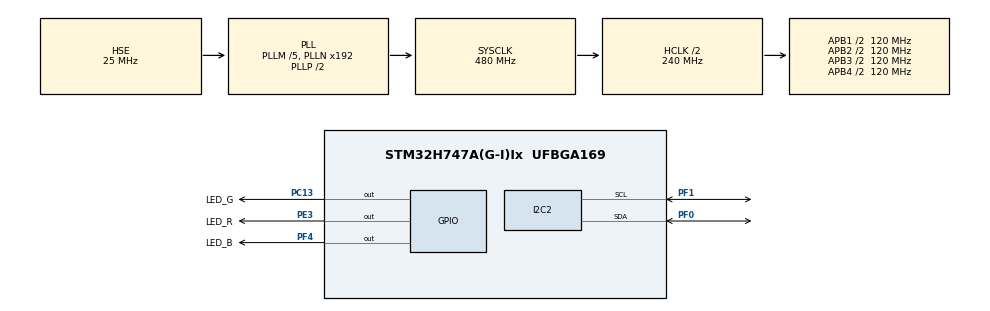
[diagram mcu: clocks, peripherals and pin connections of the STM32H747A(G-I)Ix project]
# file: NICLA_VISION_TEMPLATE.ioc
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CORTEX_M7.CPU_DCache=Enabled
CORTEX_M7.CPU_ICache=Enabled
CORTEX_M7.default_mode_Activation=1
CortexM4.IPs=BDMA,CORTEX_M4\:I,DEBUG,DMA,FATFS_M4\:I,FREERTOS_M4\:I,GPIO,IWDG2\:I,MDMA,NVIC2\:I,OPENAMP_M4\:I,PDM2PCM_M4\:I,PWR,RCC,RESMGR_UTILITY,SYS_M4\:I,USB_DEVICE_M4\:I,USB_HOST_M4\:I,VREFBUF,WWDG2\:I
CortexM7.IPs=BDMA\:I,CORTEX_M7\:I,DEBUG\:I,DMA\:I,FATFS_M7\:I,FREERTOS_M7\:I,GPIO\:I,IWDG1\:I,MDMA\:I,NVIC1\:I,OPENAMP_M7\:I,PDM2PCM_M7\:I,PWR\:I,RCC\:I,RESMGR_UTILITY\:I,SYS\:I,USB_DEVICE_M7\:I,USB_HOST_M7\:I,VREFBUF\:I,WWDG1\:I,I2C2\:I
CortexM7.Pins=PE3,PC13,PF4
I2C2.Timing=0x307075B1
Mcu.Family=STM32H7
Mcu.Name=STM32H747A(G-I)Ix
Mcu.Package=UFBGA169
NVIC1.PriorityGroup=NVIC_PRIORITYGROUP_4
NVIC2.PriorityGroup=NVIC_PRIORITYGROUP_4
PA13\ (JTMS/SWDIO).Mode=Serial_Wire
PA13\ (JTMS/SWDIO).PinAttribute=CortexM7
PA13\ (JTMS/SWDIO).Signal=DEBUG_JTMS-SWDIO
PA14\ (JTCK/SWCLK).Mode=Serial_Wire
PA14\ (JTCK/SWCLK).PinAttribute=CortexM7
PA14\ (JTCK/SWCLK).Signal=DEBUG_JTCK-SWCLK
PC13.GPIO_Label=LED_G
PC13.PinAttribute=CortexM7
PC13.PinState=GPIO_PIN_SET
PC13.Signal=GPIO_Output
PE3.GPIO_Label=LED_R
PE3.PinAttribute=CortexM7
PE3.PinState=GPIO_PIN_SET
PE3.Signal=GPIO_Output
PF0.Mode=I2C
PF0.PinAttribute=CortexM7
PF0.Signal=I2C2_SDA
PF1.Mode=I2C
PF1.PinAttribute=CortexM7
PF1.Signal=I2C2_SCL
PF4.GPIO_Label=LED_B
PF4.PinAttribute=CortexM7
PF4.PinState=GPIO_PIN_SET
PF4.Signal=GPIO_Output
PH0-OSC_IN\ (PH0).Mode=HSE-External-Clock-Source
PH0-OSC_IN\ (PH0).PinAttribute=Free
PH0-OSC_IN\ (PH0).Signal=RCC_OSC_IN
ProjectManager.HeapSize=M4-0x200,M7-0x200
ProjectManager.StackSize=M4-0x400,M7-0x400
ProjectManager.TargetToolchain=STM32CubeIDE
RCC.ADCFreq_Value=50390625
RCC.APB1Freq_Value=120000000
RCC.APB2Freq_Value=120000000
RCC.APB3Freq_Value=120000000
RCC.APB4Freq_Value=120000000
RCC.CortexFreq_Value=480000000
RCC.D1PPRE=RCC_APB3_DIV2
RCC.D2PPRE1=RCC_APB1_DIV2
RCC.D2PPRE2=RCC_APB2_DIV2
RCC.D3PPRE=RCC_APB4_DIV2
RCC.DIVM1=5
RCC.DIVN1=192
RCC.HCLKFreq_Value=240000000
RCC.HPRE=RCC_HCLK_DIV2
RCC.PLLFRACN=0
RCC.PLLSourceVirtual=RCC_PLLSOURCE_HSE
RCC.SYSCLKFreq_VALUE=480000000
RCC.SYSCLKSource=RCC_SYSCLKSOURCE_PLLCLK
RCC.SupplySource=PWR_LDO_SUPPLY
RCC.USBFreq_Value=480000000
RCC.VDD_VALUE=1.8
SYS.userName=SYS_M7
VP_SYS_M4_VS_Systick.Mode=SysTick
board=custom

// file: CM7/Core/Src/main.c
/* USER CODE BEGIN Header */
/**
  ******************************************************************************
  * @file           : main.c
  * @brief          : Main program body
  ******************************************************************************
  * @attention
  *
  * Copyright (c) 2024 STMicroelectronics.
  * All rights reserved.
  *
  * This software is licensed under terms that can be found in the LICENSE file
  * in the root directory of this software component.
  * If no LICENSE file comes with this software, it is provided AS-IS.
  *
  ******************************************************************************
  */
/* USER CODE END Header */
#include "main.h"

/* USER CODE BEGIN PD */

/* Start of the CM4 image in flash (must match CM4/STM32H747AIIX_FLASH.ld) */
#define CM4_IMAGE_ADDRESS    0x08100000U

#ifndef HSEM_ID_0
#define HSEM_ID_0 (0U) /* HW semaphore 0*/
#endif

/* USER CODE END PD */

I2C_HandleTypeDef hi2c2;

void SystemClock_Config(void);
static void MPU_Config(void);
static void MX_GPIO_Init(void);
static void MX_I2C2_Init(void);
/* USER CODE BEGIN PFP */
static void Bootloader_Handoff(void);
static void Disable_Caches(void);
/* USER CODE END PFP */

int main(void)
{

  /* USER CODE BEGIN 1 */

  Bootloader_Handoff();

  // Release the M4 (it is held off by the option bytes), pointing it at its image
  __HAL_RCC_SYSCFG_CLK_ENABLE();
  HAL_SYSCFG_CM4BootAddConfig(SYSCFG_BOOT_ADDR0, CM4_IMAGE_ADDRESS);

  // Boot up the M4 core as portenta is set to have it off by default using fuses
  HAL_RCCEx_EnableBootCore(RCC_BOOT_C2);

  /* USER CODE END 1 */
/* USER CODE BEGIN Boot_Mode_Sequence_0 */
  int32_t timeout;
/* USER CODE END Boot_Mode_Sequence_0 */

  /* MPU Configuration--------------------------------------------------------*/
  MPU_Config();

  /* Enable the CPU Cache */

  /* Enable I-Cache---------------------------------------------------------*/
  SCB_EnableICache();

  /* Enable D-Cache---------------------------------------------------------*/
  SCB_EnableDCache();

/* USER CODE BEGIN Boot_Mode_Sequence_1 */
  /* Wait until CPU2 boots and enters in stop mode or timeout*/
  timeout = 0xFFFF;
  while((__HAL_RCC_GET_FLAG(RCC_FLAG_D2CKRDY) != RESET) && (timeout-- > 0));
  if ( timeout < 0 )
  {
  Error_Handler();
  }
/* USER CODE END Boot_Mode_Sequence_1 */
  /* MCU Configuration--------------------------------------------------------*/

  /* Reset of all peripherals, Initializes the Flash interface and the Systick. */
  HAL_Init();

  /* USER CODE BEGIN Init */

  /* Enable the portenta oscillator pin */
  __HAL_RCC_GPIOH_CLK_ENABLE();
  GPIO_InitTypeDef  gpio_osc_init_structure;
  gpio_osc_init_structure.Pin = GPIO_PIN_1;
  gpio_osc_init_structure.Mode = GPIO_MODE_OUTPUT_PP;
  gpio_osc_init_structure.Pull = GPIO_PULLUP;
  gpio_osc_init_structure.Speed = GPIO_SPEED_FREQ_LOW;
  HAL_GPIO_Init(GPIOH, &gpio_osc_init_structure);
  HAL_Delay(10);
  HAL_GPIO_WritePin(GPIOH, GPIO_PIN_1, 1);

  /* USER CODE END Init */

  /* Configure the system clock */
  SystemClock_Config();
/* USER CODE BEGIN Boot_Mode_Sequence_2 */
/* When system initialization is finished, Cortex-M7 will release Cortex-M4 by means of
HSEM notification */
/*HW semaphore Clock enable*/
__HAL_RCC_HSEM_CLK_ENABLE();
/*Take HSEM */
HAL_HSEM_FastTake(HSEM_ID_0);
/*Release HSEM in order to notify the CPU2(CM4)*/
HAL_HSEM_Release(HSEM_ID_0,0);
/* wait until CPU2 wakes up from stop mode */
timeout = 0xFFFF;
while((__HAL_RCC_GET_FLAG(RCC_FLAG_D2CKRDY) == RESET) && (timeout-- > 0));
if ( timeout < 0 )
{
Error_Handler();
}
/* USER CODE END Boot_Mode_Sequence_2 */

  /* Initialize all configured peripherals */
  MX_GPIO_Init();
  MX_I2C2_Init();
  /* USER CODE BEGIN 2 */

  /* Setup power supply rails
   * This part enables all required rails on the power management module via I2C*/
  uint8_t data[2];

  // Charger LED Driver Enable controlled via software
  data[0]=0x9c;
  data[1]=0x80;
  HAL_I2C_Master_Transmit(&hi2c2, 0x08 << 1, data, sizeof(data), 100);

  // Charger LED Driver Enable controlled via software
  data[0]=0x9e;
  data[1]=0x20;
  HAL_I2C_Master_Transmit(&hi2c2, 0x08 << 1, data, sizeof(data), 100);

  // SW3 current limit at 1.5A
  data[0]=0x42;
  data[1]=0x02;
  HAL_I2C_Master_Transmit(&hi2c2, 0x08 << 1, data, sizeof(data), 100);

  // VBUS current limit at 1.5A
  data[0]=0x94;
  data[1]=0xa0;
  HAL_I2C_Master_Transmit(&hi2c2, 0x08 << 1, data, sizeof(data), 100);

  // LDO1
  data[0] = 0x4d;
  data[1] = 0x01;
  HAL_I2C_Master_Transmit(&hi2c2, 0x08 << 1, data, sizeof(data), 100);

  // LDO2
  data[0] = 0x50;
  data[1] = 0x01;
  HAL_I2C_Master_Transmit(&hi2c2, 0x08 << 1, data, sizeof(data), 100);

  // LDO3 to 1.2V
  data[0] = 0x53;
  data[1] = 0x01;
  HAL_I2C_Master_Transmit(&hi2c2, 0x08 << 1, data, sizeof(data), 100);

  // SW2
  data[0] = 0x3b;
  data[1] = 0x81;
  HAL_I2C_Master_Transmit(&hi2c2, 0x08 << 1, data, sizeof(data),100);

  // wait for the power lines to settle
  HAL_Delay(250);

  /* USER CODE END 2 */

  /* Infinite loop */
  while (1)
  {

    /* USER CODE BEGIN 3 */
	HAL_GPIO_TogglePin(LED_G_GPIO_Port, LED_G_Pin);
	HAL_Delay(3000);
  }
  /* USER CODE END 3 */
}

void SystemClock_Config(void)
{
  RCC_OscInitTypeDef RCC_OscInitStruct = {0};
  RCC_ClkInitTypeDef RCC_ClkInitStruct = {0};

  /** Supply configuration update enable
  */
  HAL_PWREx_ConfigSupply(PWR_LDO_SUPPLY);

  /** Configure the main internal regulator output voltage
  */
  __HAL_PWR_VOLTAGESCALING_CONFIG(PWR_REGULATOR_VOLTAGE_SCALE1);

  while(!__HAL_PWR_GET_FLAG(PWR_FLAG_VOSRDY)) {}

  __HAL_RCC_SYSCFG_CLK_ENABLE();
  __HAL_PWR_VOLTAGESCALING_CONFIG(PWR_REGULATOR_VOLTAGE_SCALE0);

  while(!__HAL_PWR_GET_FLAG(PWR_FLAG_VOSRDY)) {}

  /** Initializes the RCC Oscillators according to the specified parameters
  * in the RCC_OscInitTypeDef structure.
  */
  RCC_OscInitStruct.OscillatorType = RCC_OSCILLATORTYPE_HSE;
  RCC_OscInitStruct.HSEState = RCC_HSE_BYPASS;
  RCC_OscInitStruct.PLL.PLLState = RCC_PLL_ON;
  RCC_OscInitStruct.PLL.PLLSource = RCC_PLLSOURCE_HSE;
  RCC_OscInitStruct.PLL.PLLM = 5;
  RCC_OscInitStruct.PLL.PLLN = 192;
  RCC_OscInitStruct.PLL.PLLP = 2;
  RCC_OscInitStruct.PLL.PLLQ = 2;
  RCC_OscInitStruct.PLL.PLLR = 2;
  RCC_OscInitStruct.PLL.PLLRGE = RCC_PLL1VCIRANGE_2;
  RCC_OscInitStruct.PLL.PLLVCOSEL = RCC_PLL1VCOWIDE;
  RCC_OscInitStruct.PLL.PLLFRACN = 0;
  if (HAL_RCC_OscConfig(&RCC_OscInitStruct) != HAL_OK)
  {
    Error_Handler();
  }

  /** Initializes the CPU, AHB and APB buses clocks
  */
  RCC_ClkInitStruct.ClockType = RCC_CLOCKTYPE_HCLK|RCC_CLOCKTYPE_SYSCLK
                              |RCC_CLOCKTYPE_PCLK1|RCC_CLOCKTYPE_PCLK2
                              |RCC_CLOCKTYPE_D3PCLK1|RCC_CLOCKTYPE_D1PCLK1;
  RCC_ClkInitStruct.SYSCLKSource = RCC_SYSCLKSOURCE_PLLCLK;
  RCC_ClkInitStruct.SYSCLKDivider = RCC_SYSCLK_DIV1;
  RCC_ClkInitStruct.AHBCLKDivider = RCC_HCLK_DIV2;
  RCC_ClkInitStruct.APB3CLKDivider = RCC_APB3_DIV2;
  RCC_ClkInitStruct.APB1CLKDivider = RCC_APB1_DIV2;
  RCC_ClkInitStruct.APB2CLKDivider = RCC_APB2_DIV2;
  RCC_ClkInitStruct.APB4CLKDivider = RCC_APB4_DIV2;

  if (HAL_RCC_ClockConfig(&RCC_ClkInitStruct, FLASH_LATENCY_4) != HAL_OK)
  {
    Error_Handler();
  }
}

static void MX_I2C2_Init(void)
{

  hi2c2.Instance = I2C2;
  hi2c2.Init.Timing = 0x307075B1;
  hi2c2.Init.OwnAddress1 = 0;
  hi2c2.Init.AddressingMode = I2C_ADDRESSINGMODE_7BIT;
  hi2c2.Init.DualAddressMode = I2C_DUALADDRESS_DISABLE;
  hi2c2.Init.OwnAddress2 = 0;
  hi2c2.Init.OwnAddress2Masks = I2C_OA2_NOMASK;
  hi2c2.Init.GeneralCallMode = I2C_GENERALCALL_DISABLE;
  hi2c2.Init.NoStretchMode = I2C_NOSTRETCH_DISABLE;
  if (HAL_I2C_Init(&hi2c2) != HAL_OK)
  {
    Error_Handler();
  }

  /** Configure Analogue filter
  */
  if (HAL_I2CEx_ConfigAnalogFilter(&hi2c2, I2C_ANALOGFILTER_ENABLE) != HAL_OK)
  {
    Error_Handler();
  }

  /** Configure Digital filter
  */
  if (HAL_I2CEx_ConfigDigitalFilter(&hi2c2, 0) != HAL_OK)
  {
    Error_Handler();
  }

}

static void MX_GPIO_Init(void)
{
  GPIO_InitTypeDef GPIO_InitStruct = {0};

  /* GPIO Ports Clock Enable */
  __HAL_RCC_GPIOA_CLK_ENABLE();
  __HAL_RCC_GPIOE_CLK_ENABLE();
  __HAL_RCC_GPIOC_CLK_ENABLE();
  __HAL_RCC_GPIOF_CLK_ENABLE();

  /*Configure GPIO pin Output Level */
  HAL_GPIO_WritePin(LED_R_GPIO_Port, LED_R_Pin, GPIO_PIN_SET);

  /*Configure GPIO pin Output Level */
  HAL_GPIO_WritePin(LED_G_GPIO_Port, LED_G_Pin, GPIO_PIN_SET);

  /*Configure GPIO pin Output Level */
  HAL_GPIO_WritePin(LED_B_GPIO_Port, LED_B_Pin, GPIO_PIN_SET);

  /*Configure GPIO pin : LED_R_Pin */
  GPIO_InitStruct.Pin = LED_R_Pin;
  GPIO_InitStruct.Mode = GPIO_MODE_OUTPUT_PP;
  GPIO_InitStruct.Pull = GPIO_NOPULL;
  GPIO_InitStruct.Speed = GPIO_SPEED_FREQ_LOW;
  HAL_GPIO_Init(LED_R_GPIO_Port, &GPIO_InitStruct);

  /*Configure GPIO pin : LED_G_Pin */
  GPIO_InitStruct.Pin = LED_G_Pin;
  GPIO_InitStruct.Mode = GPIO_MODE_OUTPUT_PP;
  GPIO_InitStruct.Pull = GPIO_NOPULL;
  GPIO_InitStruct.Speed = GPIO_SPEED_FREQ_LOW;
  HAL_GPIO_Init(LED_G_GPIO_Port, &GPIO_InitStruct);

  /*Configure GPIO pin : LED_B_Pin */
  GPIO_InitStruct.Pin = LED_B_Pin;
  GPIO_InitStruct.Mode = GPIO_MODE_OUTPUT_PP;
  GPIO_InitStruct.Pull = GPIO_NOPULL;
  GPIO_InitStruct.Speed = GPIO_SPEED_FREQ_LOW;
  HAL_GPIO_Init(LED_B_GPIO_Port, &GPIO_InitStruct);

}

/* USER CODE BEGIN 4 */
/*
 * Built with -O2 on purpose: CMSIS 5.1.1 SCB_DisableDCache() disables the
 * cache before cleaning it, so at -O0 its loop counters live on the (cached)
 * stack, get read back stale from RAM and the loop never ends.
 */
__attribute__((optimize("O2"))) static void Disable_Caches(void)
{
  SCB_DisableICache();
  SCB_DisableDCache();
}

/*
 * The bootloader jumps here without a reset. Put VTOR, NVIC, caches, MPU and
 * the RCC peripheral resets / clock enables back to their power-on state.
 */
static void Bootloader_Handoff(void)
{
  extern uint32_t g_pfnVectors[];

  __disable_irq();

  /* Our own vector table, wherever we were linked */
  SCB->VTOR = (uint32_t)g_pfnVectors;
  __DSB();
  __ISB();

  /* No interrupts left over from the bootloader */
  SysTick->CTRL = 0;
  for (uint32_t i = 0; i < 8; i++)
  {
    NVIC->ICER[i] = 0xFFFFFFFFU;
    NVIC->ICPR[i] = 0xFFFFFFFFU;
  }

  /* Caches off and MPU off, as after reset */
  Disable_Caches();
  HAL_MPU_Disable();

  /* Reset every peripheral the bootloader may have used */
  __HAL_RCC_AHB1_FORCE_RESET();
  __HAL_RCC_AHB2_FORCE_RESET();
  __HAL_RCC_AHB3_FORCE_RESET();
  __HAL_RCC_AHB4_FORCE_RESET();
  __HAL_RCC_APB1L_FORCE_RESET();
  __HAL_RCC_APB1H_FORCE_RESET();
  __HAL_RCC_APB2_FORCE_RESET();
  __HAL_RCC_APB3_FORCE_RESET();
  __HAL_RCC_APB4_FORCE_RESET();
  __HAL_RCC_AHB1_RELEASE_RESET();
  __HAL_RCC_AHB2_RELEASE_RESET();
  __HAL_RCC_AHB3_RELEASE_RESET();
  __HAL_RCC_AHB4_RELEASE_RESET();
  __HAL_RCC_APB1L_RELEASE_RESET();
  __HAL_RCC_APB1H_RELEASE_RESET();
  __HAL_RCC_APB2_RELEASE_RESET();
  __HAL_RCC_APB3_RELEASE_RESET();
  __HAL_RCC_APB4_RELEASE_RESET();

  /* Give up CM7's clock enables so D2 can go to STOP.
   * AHB3ENR also holds the FLASH/TCM/AXI SRAM bits: only touch peripherals. */
  RCC->AHB1ENR  = 0;
  RCC->AHB2ENR  = 0;
  RCC->AHB3ENR &= ~(RCC_AHB3ENR_MDMAEN | RCC_AHB3ENR_DMA2DEN | RCC_AHB3ENR_JPGDECEN |
                    RCC_AHB3ENR_FMCEN | RCC_AHB3ENR_QSPIEN | RCC_AHB3ENR_SDMMC1EN);
  RCC->AHB4ENR  = 0;
  RCC->APB1LENR = 0;
  RCC->APB1HENR = 0;
  RCC->APB2ENR  = 0;
  RCC->APB3ENR  = 0;
  RCC->APB4ENR  = RCC_APB4ENR_RTCAPBEN;
  __DSB();

  __enable_irq();
}
/* USER CODE END 4 */

 /* MPU Configuration */

void MPU_Config(void)
{
  MPU_Region_InitTypeDef MPU_InitStruct = {0};

  /* Disables the MPU */
  HAL_MPU_Disable();

  /** Initializes and configures the Region and the memory to be protected
  */
  MPU_InitStruct.Enable = MPU_REGION_ENABLE;
  MPU_InitStruct.Number = MPU_REGION_NUMBER0;
  MPU_InitStruct.BaseAddress = 0x0;
  MPU_InitStruct.Size = MPU_REGION_SIZE_4GB;
  MPU_InitStruct.SubRegionDisable = 0x87;
  MPU_InitStruct.TypeExtField = MPU_TEX_LEVEL0;
  MPU_InitStruct.AccessPermission = MPU_REGION_NO_ACCESS;
  MPU_InitStruct.DisableExec = MPU_INSTRUCTION_ACCESS_DISABLE;
  MPU_InitStruct.IsShareable = MPU_ACCESS_SHAREABLE;
  MPU_InitStruct.IsCacheable = MPU_ACCESS_NOT_CACHEABLE;
  MPU_InitStruct.IsBufferable = MPU_ACCESS_NOT_BUFFERABLE;

  HAL_MPU_ConfigRegion(&MPU_InitStruct);
  /* Enables the MPU */
  HAL_MPU_Enable(MPU_PRIVILEGED_DEFAULT);

}

void Error_Handler(void)
{
  __disable_irq();
  while (1)
  {
  }
}
